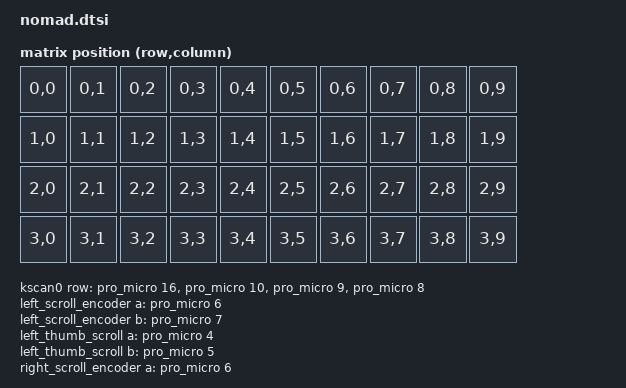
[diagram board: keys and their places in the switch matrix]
/*
 * Copyright (c) 2020 Pete Johanson, Ryan Cross
 *
 * SPDX-License-Identifier: MIT
 */

#include <dt-bindings/zmk/matrix_transform.h>

/ {
    chosen {
      zmk,kscan = &kscan0;
      zmk,matrix_transform = &default_transform;
    };

// Defining the default transform
    default_transform: keymap_transform_0 {
      compatible = "zmk,matrix-transform";
      columns = <10>;
      rows = <4>;
      
      // | SW1  | SW2  | SW3  | SW4  | SW5  |       | SW5  | SW4  | SW3  | SW2  | SW1  |
      // | SW6  | SW7  | SW8  | SW9  | SW10 |       | SW10 | SW9  | SW8  | SW7  | SW6  |
      // | SW11 | SW12 | SW13 | SW14 | SW15 |       | SW15 | SW14 | SW13 | SW12 | SW11 |
      // | SW16 | SW17 | SW18 | SW19 | SW20 |       | SW20 | SW19 | SW18 | SW17 | SW16 |
      map = <
        RC(0,0) RC(0,1) RC(0,2) RC(0,3) RC(0,4)       RC(0,5) RC(0,6) RC(0,7) RC(0,8) RC(0,9)
        RC(1,0) RC(1,1) RC(1,2) RC(1,3) RC(1,4)       RC(1,5) RC(1,6) RC(1,7) RC(1,8) RC(1,9)
        RC(2,0) RC(2,1) RC(2,2) RC(2,3) RC(2,4)       RC(2,5) RC(2,6) RC(2,7) RC(2,8) RC(2,9)
        RC(3,0) RC(3,1) RC(3,2) RC(3,3) RC(3,4)       RC(3,5) RC(3,6) RC(3,7) RC(3,8) RC(3,9)
      >;
    };

    kscan0: kscan {
      compatible = "zmk,kscan-gpio-matrix";
      label = "KSCAN";

      diode-direction = "col2row";
      row-gpios
        = <&pro_micro 16 (GPIO_ACTIVE_HIGH | GPIO_PULL_DOWN)>
        , <&pro_micro 10 (GPIO_ACTIVE_HIGH | GPIO_PULL_DOWN)>
        , <&pro_micro 9 (GPIO_ACTIVE_HIGH | GPIO_PULL_DOWN)>
        , <&pro_micro 8 (GPIO_ACTIVE_HIGH | GPIO_PULL_DOWN)>
        ;
    };

    left_scroll_encoder: scroll_encoder_left {
      compatible = "alps,ec11";
      label = "LEFT_SCROLL_ENCODER";
      a-gpios = <&pro_micro 6 (GPIO_ACTIVE_HIGH | GPIO_PULL_UP)>;
      b-gpios = <&pro_micro 7 (GPIO_ACTIVE_HIGH | GPIO_PULL_UP)>;
      resolution = <8>;
      status = "disabled";
    };
      
    left_thumb_scroll: scroll_thumb_left {
      compatible = "alps,ec11";
      label = "LEFT_ROTARY_ENCODER";
      a-gpios = <&pro_micro 4 (GPIO_ACTIVE_HIGH | GPIO_PULL_UP)>;
      b-gpios = <&pro_micro 5 (GPIO_ACTIVE_HIGH | GPIO_PULL_UP)>;
      resolution = <8>;
      status = "disabled";
    };
      
    right_scroll_encoder: scroll_encoder_right {
      compatible = "alps,ec11";
      label = "RIGHT_SCROLL_ENCODER";
      a-gpios = <&pro_micro 6 (GPIO_ACTIVE_HIGH | GPIO_PULL_UP)>;
      b-gpios = <&pro_micro 7 (GPIO_ACTIVE_HIGH | GPIO_PULL_UP)>;
      resolution = <8>;
      status = "disabled";
    };
      
    right_thumb_scroll: scroll_thumb_right {
      compatible = "alps,ec11";
      label = "RIGHT_ROTARY_ENCODER";
      a-gpios = <&pro_micro 4 (GPIO_ACTIVE_HIGH | GPIO_PULL_UP)>;
      b-gpios = <&pro_micro 5 (GPIO_ACTIVE_HIGH | GPIO_PULL_UP)>;
      resolution = <8>;
      status = "disabled";
    };

    sensors {
      compatible = "zmk,keymap-sensors";
      sensors = <&left_scroll_encoder &left_thumb_scroll &right_scroll_encoder &right_thumb_scroll>;
    };
  };
